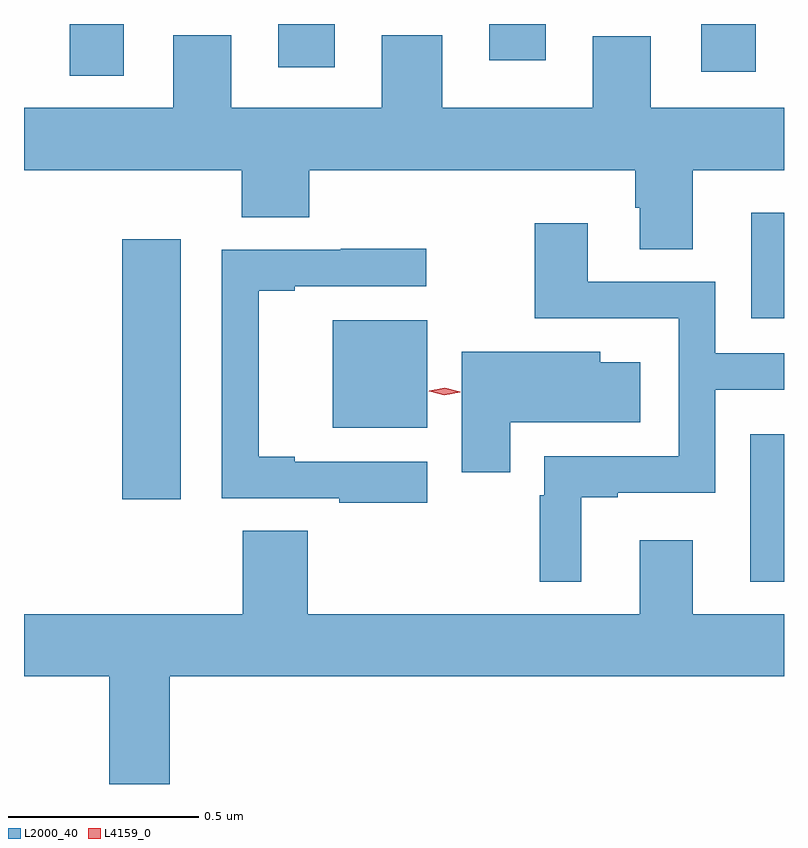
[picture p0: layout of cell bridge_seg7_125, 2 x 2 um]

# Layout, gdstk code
import gdstk
lib = gdstk.Library(unit=1e-6, precision=1e-09)
def R(c, l, rs):  # rectangles x0, y0, x1, y1
    for r in rs: c.add(gdstk.rectangle(r[:2], r[2:], *l))
def P(c, l, *ps):  # polygons
    for p in ps: c.add(gdstk.Polygon(p, *l))
L2000_40 = (2000, 40)
L4159_0 = (4159, 0)

bridge_seg7_125 = lib.new_cell('bridge_seg7_125')
R(bridge_seg7_125, L2000_40, [(800.147,1007.525,800.236,1007.913), (798.494,1007.742,798.649,1008.427), (799.049,1007.93,799.297,1008.214), (800.15,1008.219,800.236,1008.496), (798.356,1008.857,798.499,1008.993), (800.018,1008.867,800.161,1008.993), (798.905,1008.879,799.054,1008.993), (799.46,1008.897,799.609,1008.993)])
P(bridge_seg7_125, L2000_40, [(799.996,1008.608),(800.236,1008.608),(800.236,1008.772),(799.885,1008.772),(799.885,1008.961),(799.733,1008.961),(799.733,1008.772),(799.336,1008.772),(799.336,1008.964),(799.178,1008.964),(799.178,1008.772),(798.781,1008.772),(798.781,1008.964),(798.629,1008.964),(798.629,1008.772),(798.236,1008.772),(798.236,1008.608),(798.809,1008.608),(798.809,1008.484),(798.986,1008.484),(798.986,1008.608),(799.844,1008.608),(799.844,1008.51),(799.856,1008.51),(799.856,1008.4),(799.996,1008.4)],
  [(799.702,1007.748),(799.798,1007.748),(799.798,1007.76),(800.055,1007.76),(800.055,1008.03),(800.236,1008.03),(800.236,1008.126),(800.055,1008.126),(800.055,1008.315),(799.72,1008.315),(799.72,1008.469),(799.58,1008.469),(799.58,1008.219),(799.959,1008.219),(799.959,1007.856),(799.605,1007.856),(799.605,1007.753),(799.593,1007.753),(799.593,1007.525),(799.702,1007.525)],
  [(799.297,1007.841),(798.949,1007.841),(798.949,1007.854),(798.854,1007.854),(798.854,1008.291),(798.949,1008.291),(798.949,1008.303),(799.294,1008.303),(799.294,1008.401),(799.069,1008.401),(799.069,1008.399),(798.756,1008.399),(798.756,1007.745),(799.066,1007.745),(799.066,1007.733),(799.297,1007.733)],
  [(799.516,1007.945),(799.858,1007.945),(799.858,1008.103),(799.752,1008.103),(799.752,1008.13),(799.388,1008.13),(799.388,1007.814),(799.516,1007.814)],
  [(798.62,1007.276),(800.236,1007.276),(800.236,1007.44),(799.996,1007.44),(799.996,1007.635),(799.856,1007.635),(799.856,1007.44),(798.983,1007.44),(798.983,1007.66),(798.812,1007.66),(798.812,1007.44),(798.236,1007.44),(798.236,1007.276),(798.46,1007.276),(798.46,1006.993),(798.62,1006.993)])
P(bridge_seg7_125, L4159_0, [(799.342,1008.016),(799.302,1008.027),(799.301,1008.027),(799.302,1008.028),(799.343,1008.036),(799.384,1008.025),(799.384,1008.025),(799.384,1008.024)])

lib.write_gds('bridge_seg7_125.gds')
